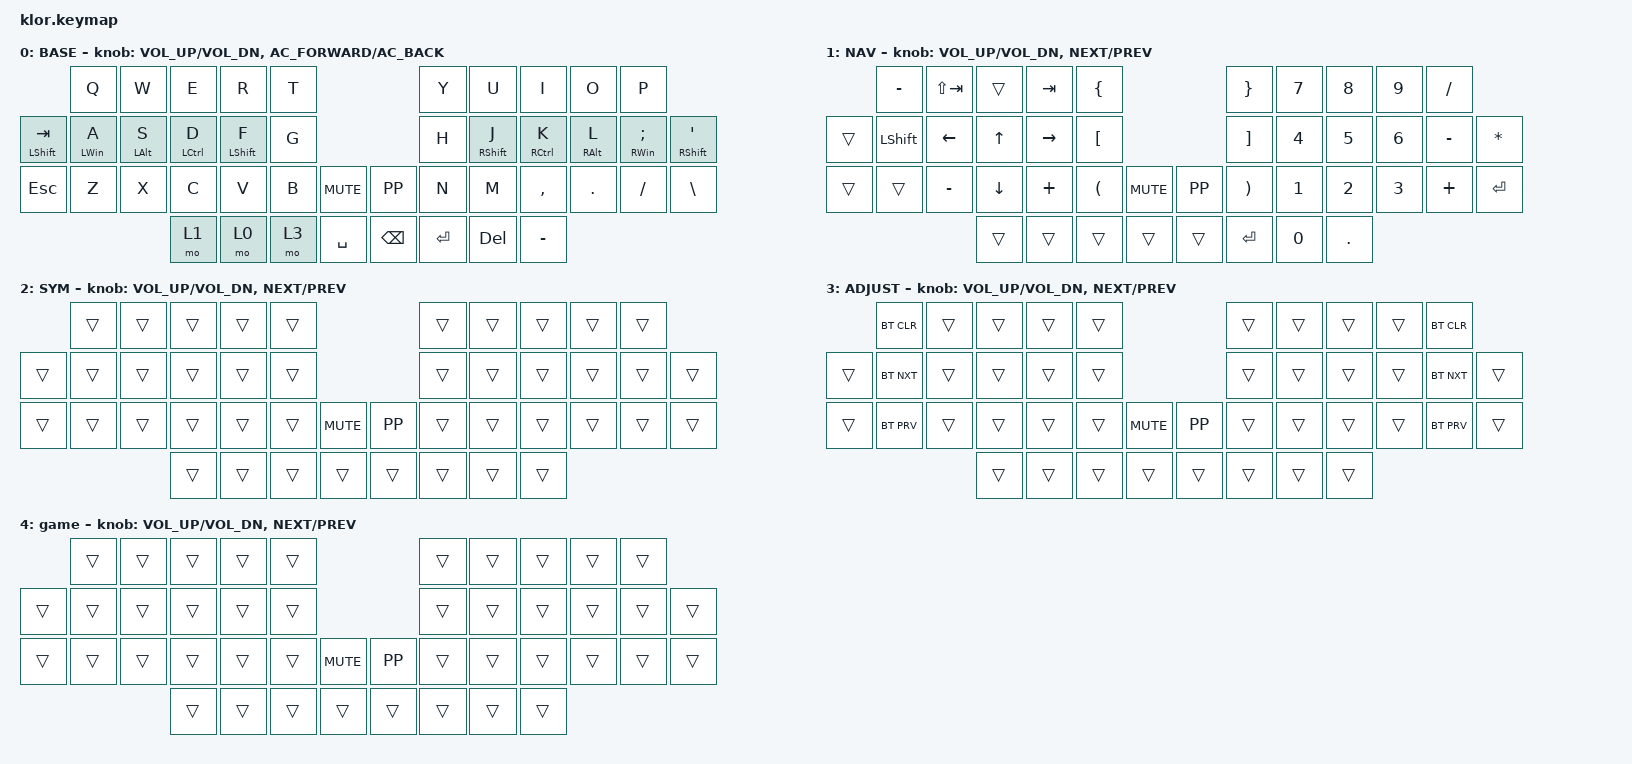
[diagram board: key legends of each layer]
//                               █         █    █            ▄▄▄▀▀▀▀▀▀▄▄▄        █▀▀▀▀▀▀▀▀▀▀█
//                               █        █     █          ▄▀            ▀▄      █          █
//                               █       █      █        ▄▀                ▀▄    █          █
//                               █      █       █        █                  █    █          █
//                               █     █        █       █                    █   █          █
//                               █    █         █       █                    █   █▄▄▄▄▄▄▄▄▄▄█
//                               █   █ █        █       █                    █   █      █
//                               █  █   █       █        █                  █    █       █
//                               █ █     █      █        ▀▄                ▄▀    █        █
//                               ██       █     █          ▀▄            ▄▀      █         █
//                               █         █    █▄▄▄▄▄▄▄▄    ▀▀▀▄▄▄▄▄▄▀▀▀        █          █
//
// ▄▄▄▄▄▄▄▄▄▄▄▄▄▄▄▄▄▄▄▄▄▄▄▄▄▄▄▄▄▄▄▄▄▄▄▄▄▄▄▄▄▄▄▄▄▄▄▄▄▄▄▄▄▄▄▄▄▄▄▄▄▄▄▄▄▄▄▄▄▄▄▄▄▄▄▄▄▄▄▄▄▄▄▄▄▄▄▄▄▄▄▄▄▄▄▄▄▄▄▄▄▄▄▄▄▄▄▄▄▄▄▄▄▄▄▄▄▄▄▄▄▄▄▄▄

#include <behaviors.dtsi>
#include <dt-bindings/zmk/bt.h>
#include <dt-bindings/zmk/keys.h>

#define BASE   0
#define RAISE  1
#define LOWER  2
#define ADJUST 3

&led_strip { chain-length = <21>; };

&sensors {
    left_encoder { triggers-per-rotation = <15>; };

    right_encoder { triggers-per-rotation = <15>; };
};

/ {
    behaviors {
        hm: homerow_mods {
            compatible = "zmk,behavior-hold-tap";
            label = "HOMEROW_MODS";
            #binding-cells = <2>;
            tapping-term-ms = <250>;
            quick_tap_ms = <0>;
            flavor = "tap-preferred";
            bindings = <&kp>, <&kp>;
        };
    };

    combos {
        compatible = "zmk,combos";

        combo_esc {
            timeout-ms = <50>;
            key-positions = <0 1>;
            bindings = <&kp ESC>;
        };

        combo_closetab {
            timeout-ms = <50>;
            key-positions = <1 2>;
            bindings = <&macro_closetab>;
        };

        combo_lasttab {
            timeout-ms = <50>;
            key-positions = <2 3>;
            bindings = <&macro_lasttab>;
        };

        combo_prtscr {
            timeout-ms = <50>;
            key-positions = <3 4>;
            bindings = <&kp PSCRN>;
        };

        combo_terminal {
            timeout-ms = <50>;
            key-positions = <1 3>;
            bindings = <&macro_terminal>;
        };
    };

    macros {
        macro_closetab: macro_closetab {
            compatible = "zmk,behavior-macro";
            #binding-cells = <0>;
            bindings =
                <&macro_press>,
                <&kp LCTRL>,
                <&macro_tap>,
                <&kp F4>,
                <&macro_release>,
                <&kp LCTRL>;
        };

        macro_lasttab: macro_lasttab {
            compatible = "zmk,behavior-macro";
            #binding-cells = <0>;
            bindings =
                <&macro_press>,
                <&kp LCTRL>,
                <&macro_tap>,
                <&kp LS(T)>,
                <&macro_release>,
                <&kp LCTRL>;
        };

        macro_terminal: macro_terminal {
            compatible = "zmk,behavior-macro";
            #binding-cells = <0>;
            bindings =
                <&macro_press>,
                <&kp LCTRL>,
                <&macro_tap>,
                <&kp LA(T)>,
                <&macro_release>,
                <&kp LCTRL>;
        };
    };

    keymap {
        compatible = "zmk,keymap";

        // ▄▄▄▄▄▄▄▄▄▄▄▄▄▄▄▄▄▄▄▄▄▄▄▄▄▄▄▄▄▄▄▄▄▄▄▄▄▄▄▄▄▄▄▄▄▄▄▄▄▄▄▄▄▄▄▄▄▄▄▄▄▄▄▄▄▄▄▄▄▄▄▄▄▄▄▄▄▄▄▄▄▄▄▄▄▄▄▄▄▄▄▄▄▄▄▄▄▄▄▄▄▄▄▄▄▄▄▄▄▄▄▄▄▄▄▄▄▄▄▄▄▄▄▄▄▄▄▄▄▄▄▄▄▄▄▄▄▄▄▄▄▄

        base_layer {
            // ┌───────────────────────────────────────────────────────────┐

            label = "BASE";

            // └───────────────────────────────────────────────────────────┘
            /*           ┌─────────┬─────────┬─────────┬─────────┬─────────┐                    ┌─────────┬─────────┬─────────┬─────────┬─────────┐
             │    Q    │    W    │    E    │    R    │    T    │                    │    Y    │    U    │    I    │    O    │    P    │   
   ┌─────────┼─────────┼─────────┼─────────┼─────────┼─────────┤                    ├─────────┼─────────┼─────────┼─────────┼─────────┼─────────┐
   │   TAB   │    A    │    S    │    D    │    F    │    G    │                    │    H    │    J    │    K    │    L    │    ;    │    '    │
   ├─────────┼─────────┼─────────┼─────────┼─────────┼─────────┤╭────────╮╭────────╮├─────────┼─────────┼─────────┼─────────┼─────────┼─────────┤
   │   CTRL  │    Z    │    X    │    C    │    V    │    B    ││  MUTE  ││PLY/PSE ││    N    │    M    │    ,    │    .    │    /    │    \    │
   └─────────┴─────────┴─────────┼─────────┼─────────┼─────────┼╰────────╯╰────────╯┼─────────┼─────────┼─────────┼─────────┴─────────┴─────────┘
                                 │  LALT   │  LOWER  │  RALT   │  SPACE  ││  BSPCE  │  ENTER  │  RAISE  │    DEL  │  
                                 └─────────┴─────────┴─────────┴─────────┘└─────────┴─────────┴─────────┴─────────┘ */

            bindings = <
               &kp Q           &kp W           &kp E               &kp R        &kp T                        &kp Y    &kp U        &kp I                &kp O            &kp P
&hm LSHFT TAB  &hm LEFT_WIN A  &hm LEFT_ALT S  &hm LEFT_CONTROL D  &hm LSHFT F  &kp G                        &kp H    &hm RSHFT J  &hm RIGHT_CONTROL K  &hm RIGHT_ALT L  &hm RIGHT_WIN SEMI  &hm RSHIFT SQT
&kp ESC        &kp Z           &kp X           &kp C               &kp V        &kp B  &kp C_MUTE  &kp K_PP  &kp N    &kp M        &kp COMMA            &kp DOT          &kp FSLH            &kp BSLH
                                               &mo 1               &mo 0        &mo 3  &kp SPACE   &kp BSPC  &kp RET  &kp DEL      &kp MINUS
            >;

            sensor-bindings = <&inc_dec_kp C_VOL_UP C_VOL_DN &inc_dec_kp C_AC_FORWARD C_AC_BACK>;
        };

        navigation_layer {
            // ┌───────────────────────────────────────────────────────────┐

            label = "NAV";

            // └───────────────────────────────────────────────────────────┘
            /*           ┌─────────┬─────────┬─────────┬─────────┬─────────┐                    ┌─────────┬─────────┬─────────┬─────────┬─────────┐
             │ RGB_SPI │ RGB_HUI │         │         │    {    │                    │    }    │   LEFT  │   UP    │  RIGHT  │   HOME  │
   ┌─────────┼─────────┼─────────┼─────────┼─────────┼─────────┤                    ├─────────┼─────────┼─────────┼─────────┼─────────┼─────────┐
   │ RGB_BRI │ RGB_EFF │         │         │         │    [    │                    │    ]    │         │  DOWN   │         │  PSCRN  │  P UP   │
   ├─────────┼─────────┼─────────┼─────────┼─────────┼─────────┤╭────────╮╭────────╮├─────────┼─────────┼─────────┼─────────┼─────────┼─────────┤
   │ RGB_BRD │ RGB_SPD │ RGB_HUD │         │         │    (    ││  MUTE  ││PLY/PASE││    )    │         │         │         │   END   │ P DOWN  │
   └─────────┴─────────┴─────────┼─────────┼─────────┼─────────┼╰────────╯╰────────╯┼─────────┼─────────┼─────────┼─────────┴─────────┴─────────┘
                                 │         │         │         │  LSHIFT ││  RSHIFT │         │         │  ADJUST │  
                                 └─────────┴─────────┴─────────┴─────────┘└─────────┴─────────┴─────────┴─────────┘ */

            bindings = <
        &kp MINUS       &kp LS(TAB)     &trans          &kp TAB          &kp LBRC                        &kp RBRC  &kp N7        &kp N8      &kp N9        &kp FSLH
&trans  &kp LEFT_SHIFT  &kp LEFT_ARROW  &kp UP_ARROW    &kp RIGHT_ARROW  &kp LBKT                        &kp RBKT  &kp NUMBER_4  &kp N5      &kp N6        &kp MINUS  &kp STAR
&trans  &trans          &kp MINUS       &kp DOWN_ARROW  &kp PLUS         &kp LPAR  &kp C_MUTE  &kp K_PP  &kp RPAR  &kp NUMBER_1  &kp N2      &kp NUMBER_3  &kp PLUS   &kp RET
                                        &trans          &trans           &trans    &trans      &trans    &kp RET   &kp N0        &kp PERIOD
            >;

            sensor-bindings = <&inc_dec_kp C_VOL_UP C_VOL_DN &inc_dec_kp C_NEXT C_PREV>;
        };

        symbols_layer {
            label = "SYM";
            bindings = <
        &trans  &trans  &trans  &trans  &trans                        &trans  &trans  &trans  &trans  &trans
&trans  &trans  &trans  &trans  &trans  &trans                        &trans  &trans  &trans  &trans  &trans  &trans
&trans  &trans  &trans  &trans  &trans  &trans  &kp C_MUTE  &kp K_PP  &trans  &trans  &trans  &trans  &trans  &trans
                        &trans  &trans  &trans  &trans      &trans    &trans  &trans  &trans
            >;

            sensor-bindings =
                <&inc_dec_kp C_VOL_UP C_VOL_DN>,
                <&inc_dec_kp C_NEXT C_PREV>;
        };

        adjust_layer {
            // ┌───────────────────────────────────────────────────────────┐

            label = "ADJUST";

            // └───────────────────────────────────────────────────────────┘
            /*           ┌─────────┬─────────┬─────────┬─────────┬─────────┐                    ┌─────────┬─────────┬─────────┬─────────┬─────────┐
             │ BT_CLR  │         │         │         │         │                    │         │         │         │         │ BT_CLR  │
   ┌─────────┼─────────┼─────────┼─────────┼─────────┼─────────┤                    ├─────────┼─────────┼─────────┼─────────┼─────────┼─────────┐
   │         │ BT_NXT  │         │         │         │         │                    │         │         │         │         │ BT_NXT  │         │
   ├─────────┼─────────┼─────────┼─────────┼─────────┼─────────┤╭────────╮╭────────╮├─────────┼─────────┼─────────┼─────────┼─────────┼─────────┤
   │         │ BT_PRV  │         │         │         │         ││  MUTE  ││PLY/PASE││         │         │         │         │ BT_PRV  │         │
   └─────────┴─────────┴─────────┼─────────┼─────────┼─────────┼╰────────╯╰────────╯┼─────────┼─────────┼─────────┼─────────┴─────────┴─────────┘
                                 │         │         │         │         ││         │         │         │         │  
                                 └─────────┴─────────┴─────────┴─────────┘└─────────┴─────────┴─────────┴─────────┘ */

            bindings = <
        &bt BT_CLR  &trans  &trans  &trans  &trans                        &trans  &trans  &trans  &trans  &bt BT_CLR
&trans  &bt BT_NXT  &trans  &trans  &trans  &trans                        &trans  &trans  &trans  &trans  &bt BT_NXT  &trans
&trans  &bt BT_PRV  &trans  &trans  &trans  &trans  &kp C_MUTE  &kp K_PP  &trans  &trans  &trans  &trans  &bt BT_PRV  &trans
                            &trans  &trans  &trans  &trans      &trans    &trans  &trans  &trans
            >;

            sensor-bindings = <&inc_dec_kp C_VOL_UP C_VOL_DN &inc_dec_kp C_NEXT C_PREV>;
        };

        gaming_layer {
            label = "game";
            bindings = <
        &trans  &trans  &trans  &trans  &trans                        &trans  &trans  &trans  &trans  &trans
&trans  &trans  &trans  &trans  &trans  &trans                        &trans  &trans  &trans  &trans  &trans  &trans
&trans  &trans  &trans  &trans  &trans  &trans  &kp C_MUTE  &kp K_PP  &trans  &trans  &trans  &trans  &trans  &trans
                        &trans  &trans  &trans  &trans      &trans    &trans  &trans  &trans
            >;

            sensor-bindings =
                <&inc_dec_kp C_VOL_UP C_VOL_DN>,
                <&inc_dec_kp C_NEXT C_PREV>;
        };
    };
};
